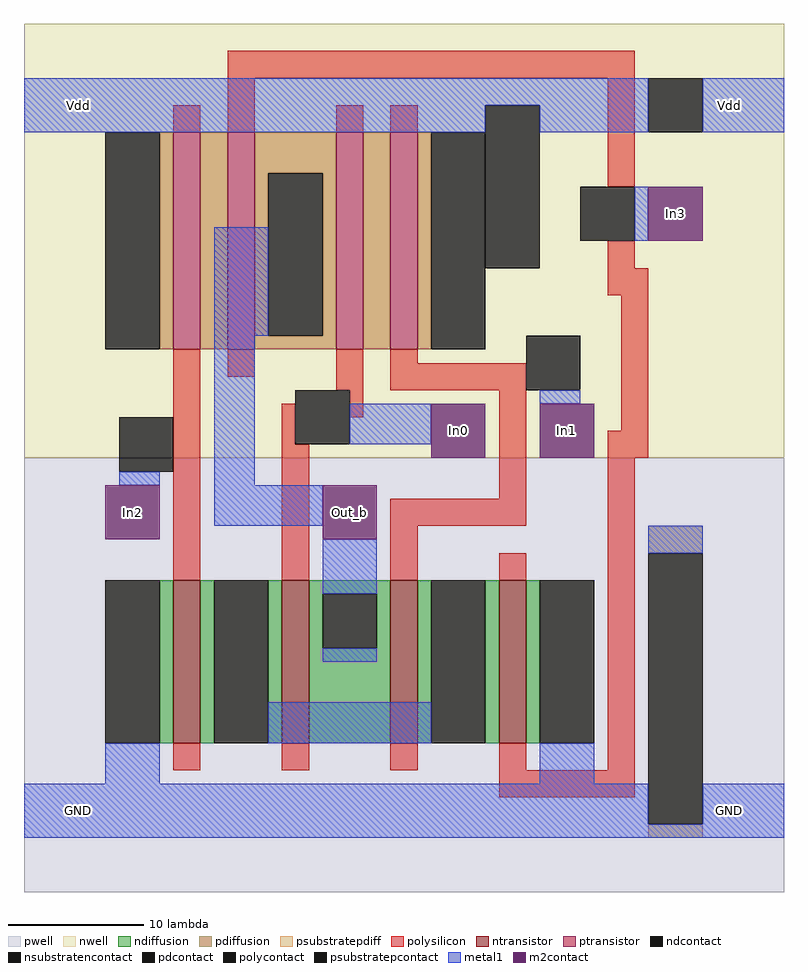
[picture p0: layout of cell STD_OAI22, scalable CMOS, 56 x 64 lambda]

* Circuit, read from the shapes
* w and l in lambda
.subckt STD_OAI22 GND In0 In1 In2 In3 Out_b Vdd
M1 n1 In2 GND GND nfet w=12 l=2
M2 Out_b In0 n1 GND nfet w=12 l=2
M3 n1 In1 Out_b GND nfet w=12 l=2
M4 GND In3 n1 GND nfet w=12 l=2
M5 n2 In2 Vdd Vdd pfet w=16 l=2
M6 Out_b In3 n2 Vdd pfet w=16 l=2
M7 n3 In0 Out_b Vdd pfet w=16 l=2
M8 Vdd In1 n3 Vdd pfet w=16 l=2
.ends

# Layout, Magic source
magic
tech scmos
<< pwell >>
rect 0 0 56 32
<< nwell >>
rect 0 32 56 64
<< polysilicon >>
rect 15 60 45 62
rect 11 56 13 58
rect 15 56 17 60
rect 23 56 25 58
rect 27 56 29 58
rect 43 52 45 60
rect 43 46 45 48
rect 43 44 46 46
rect 11 23 13 40
rect 15 38 17 40
rect 23 37 25 40
rect 27 39 29 40
rect 27 37 37 39
rect 19 33 20 36
rect 24 35 25 37
rect 19 23 21 33
rect 35 29 37 37
rect 44 34 46 44
rect 27 27 37 29
rect 43 32 46 34
rect 27 23 29 27
rect 35 23 37 25
rect 11 9 13 11
rect 19 9 21 11
rect 27 9 29 11
rect 35 9 37 11
rect 43 9 45 32
rect 35 7 45 9
<< ndiffusion >>
rect 10 11 11 23
rect 13 11 14 23
rect 18 11 19 23
rect 21 22 27 23
rect 21 18 22 22
rect 26 18 27 22
rect 21 11 27 18
rect 29 11 30 23
rect 34 11 35 23
rect 37 11 38 23
<< pdiffusion >>
rect 10 40 11 56
rect 13 40 15 56
rect 17 53 23 56
rect 17 41 18 53
rect 22 41 23 53
rect 17 40 23 41
rect 25 40 27 56
rect 29 40 30 56
<< metal1 >>
rect 0 58 46 60
rect 0 56 34 58
rect 14 41 18 49
rect 7 30 10 31
rect 14 30 17 41
rect 38 56 46 58
rect 50 56 56 60
rect 45 48 46 52
rect 38 36 41 37
rect 24 33 30 36
rect 14 27 22 30
rect 22 22 26 26
rect 46 25 50 27
rect 22 17 26 18
rect 18 11 30 14
rect 6 8 10 11
rect 38 8 42 11
rect 0 5 46 8
rect 50 5 56 8
rect 0 4 56 5
<< ntransistor >>
rect 11 11 13 23
rect 19 11 21 23
rect 27 11 29 23
rect 35 11 37 23
<< ptransistor >>
rect 11 40 13 56
rect 15 40 17 56
rect 23 40 25 56
rect 27 40 29 56
<< polycontact >>
rect 41 48 45 52
rect 7 31 11 35
rect 37 37 41 41
rect 20 33 24 37
<< ndcontact >>
rect 6 11 10 23
rect 14 11 18 23
rect 22 18 26 22
rect 30 11 34 23
rect 38 11 42 23
<< pdcontact >>
rect 6 40 10 56
rect 18 41 22 53
rect 30 40 34 56
<< m2contact >>
rect 6 26 10 30
rect 46 48 50 52
rect 30 32 34 36
rect 38 32 42 36
rect 22 26 26 30
<< psubstratepcontact >>
rect 46 5 50 25
<< nsubstratencontact >>
rect 34 46 38 58
rect 46 56 50 60
<< psubstratepdiff >>
rect 46 25 50 27
rect 46 4 50 5
<< labels >>
rlabel m2contact 8 28 8 28 6 In2
rlabel m2contact 24 28 24 28 6 Out_b
rlabel m2contact 32 34 32 34 6 In0
rlabel m2contact 40 34 40 34 6 In1
rlabel metal1 52 58 52 58 6 Vdd
rlabel metal1 4 58 4 58 6 Vdd
rlabel metal1 52 6 52 6 6 GND
rlabel metal1 4 6 4 6 6 GND
rlabel m2contact 48 50 48 50 6 In3
<< end >>
